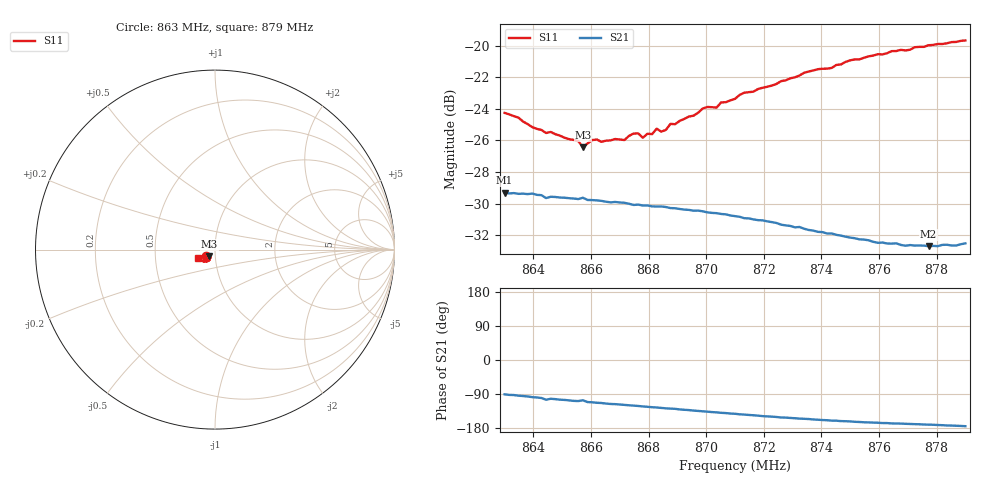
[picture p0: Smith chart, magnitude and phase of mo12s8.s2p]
# HZ S RI R 50
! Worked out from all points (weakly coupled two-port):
!   101 points, 863 MHz to 879 MHz, reference 50 ohm
!   highest |S21| = -29.31 dB at 863 MHz (marker M1); lowest = -32.7 dB at 877.72 MHz (marker M2)
!   lowest |S11| = -26.4 dB at 865.72 MHz (marker M3), VSWR 1.10, Z = 46.9 - j3.42 ohm
!   |S11| at or under -10 dB: start of sweep to end of sweep
!   S12 and S22 are empty: the file has one direction only
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8.63e8  -0.0499 -0.0356  -0.000398 -0.0342  0 0  0 0
8.6396e8  -0.044 -0.0334  -0.00472 -0.0337  0 0  0 0
8.6444e8  -0.0417 -0.0326  -0.00846 -0.0318  0 0  0 0
8.6556e8  -0.0357 -0.0348  -0.0103 -0.031  0 0  0 0
8.6572e8  -0.0308 -0.0364  -0.00927 -0.0317  0 0  0 0
8.6604e8  -0.033 -0.0379  -0.0119 -0.0302  0 0  0 0
8.6716e8  -0.0288 -0.0412  -0.0152 -0.028  0 0  0 0
8.6748e8  -0.0278 -0.0448  -0.0158 -0.027  0 0  0 0
8.678e8  -0.0277 -0.043  -0.0168 -0.0263  0 0  0 0
8.6828e8  -0.028 -0.0468  -0.0179 -0.0253  0 0  0 0
8.6844e8  -0.0272 -0.046  -0.0184 -0.0249  0 0  0 0
8.6876e8  -0.0277 -0.0493  -0.019 -0.024  0 0  0 0
8.6956e8  -0.0293 -0.0524  -0.0207 -0.0218  0 0  0 0
8.6988e8  -0.0299 -0.0558  -0.0213 -0.021  0 0  0 0
8.7036e8  -0.0305 -0.0559  -0.022 -0.0197  0 0  0 0
8.7052e8  -0.0324 -0.0577  -0.0222 -0.0191  0 0  0 0
8.71e8  -0.0338 -0.0589  -0.0227 -0.0178  0 0  0 0
8.7132e8  -0.0351 -0.0617  -0.023 -0.0167  0 0  0 0
8.7372e8  -0.0498 -0.067  -0.0239 -0.0102  0 0  0 0
8.7644e8  -0.0739 -0.0615  -0.023 -0.00515  0 0  0 0
8.7772e8  -0.0838 -0.0553  -0.0229 -0.00377  0 0  0 0
8.79e8  -0.0933 -0.0458  -0.0236 -0.0022  0 0  0 0
